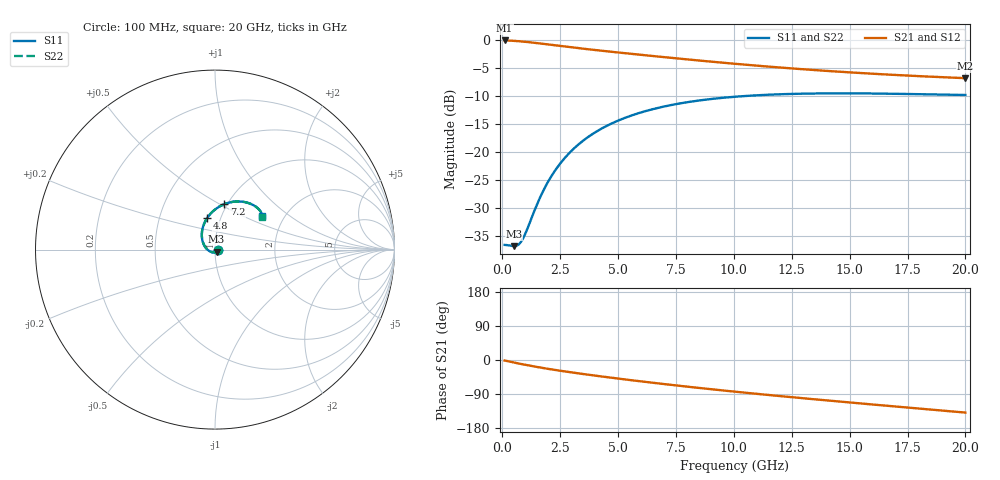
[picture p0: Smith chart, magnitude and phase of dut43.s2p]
! Touchstone file exported from HFSS 2023.1.0
!  File:  D:/Users/fzz/RDL_TSV/temp_RDL_TSV_43_1778744930.aedt
!  Generated:  3:58:58 %x4E0B%x5348  5%x6708 14, 2026
!  Design:  RDL_TSV
!  Project:  temp_RDL_TSV_43_1778744930
!  Setup:  Setup1
!  Solution:  Sweep
! Variables:
!  dtsv = 11.84um
!  hbump = 3um
!  htsv = 72.65um
!  ldown = 185.41um
!  lrdl = 269.32um
!  p = 40
!  p1 = 46.14um
!  rhole = 10um
!  subl = 1633.51um
!  t = 450um
!  tdown = 2.62um
!  trdl = 2.66um
!  viad = 10um
!  wdown = 27.86um
!  wrdl = 12.4um
!  xbump = 18um
# GHz S MA R 50.000000
! Terminal data exported
! Port[1] = TM1_1_T1
! Port[2] = TM1_4_T1
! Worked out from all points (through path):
!   200 points, 100 MHz to 20 GHz, reference 50 ohm
!   highest |S21| = -0.13 dB at 100 MHz (marker M1); lowest = -6.9 dB at 20 GHz (marker M2)
!   group delay of S21, straight-line fit = 18.2 ps
!   lowest |S11| = -36.9 dB at 500 MHz (marker M3), VSWR 1.03, Z = 50.9 - j1.16 ohm
!   |S11| at or under -10 dB: start of sweep to 10.7 GHz
!   |S22| runs from -36.9 to -9.6 dB; largest |S21 - S12| = 1.7e-14
!   S11 on the Smith chart (normalised r, x): 100 MHz: 1.03, -0.00; 4.8 GHz: 0.86, +0.31; 7.2 GHz: 0.97, +0.53; 20 GHz: 1.55, +0.64
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0.1  0.0147 -9.2  0.9849 -1.3  0.9849 -1.3  0.0147 -9.2
! Gamma 0 0 0 0
! Port Impedance 50 0 50 0
0.5  0.01431 -53.0  0.977 -6.6  0.977 -6.6  0.01432 -53.0
0.7  0.01477 -80.7  0.9703 -9.1  0.9703 -9.1  0.01477 -80.7
0.9  0.01683 -109.1  0.9623 -11.6  0.9623 -11.6  0.01683 -109.0
1.5  0.03379 -167.5  0.9328 -18.4  0.9328 -18.4  0.03378 -167.5
1.7  0.04179 -179.4  0.9221 -20.5  0.9221 -20.5  0.04178 -179.4
1.9  0.05042 170.9  0.9112 -22.6  0.9112 -22.6  0.0504 170.9
2.2  0.06412 158.9  0.8951 -25.5  0.8951 -25.5  0.0641 158.9
2.5  0.07833 149.0  0.8793 -28.3  0.8793 -28.3  0.0783 149.0
2.8  0.0927 140.6  0.8641 -31.1  0.8641 -31.1  0.09267 140.7
3.5  0.1258 124.9  0.831 -37.1  0.831 -37.1  0.1257 124.9
4.1  0.1526 114.2  0.805 -42.0  0.805 -42.0  0.1526 114.2
4.8  0.1816 103.8  0.7769 -47.5  0.7769 -47.5  0.1815 103.8
5.7  0.2145 92.8  0.7431 -54.3  0.7431 -54.3  0.2145 92.8
6.8  0.2481 81.9  0.705 -62.2  0.705 -62.2  0.248 81.9
7.2  0.2586 78.4  0.6918 -65.0  0.6918 -65.0  0.2585 78.4
8.6  0.2884 68.0  0.6489 -74.4  0.6489 -74.4  0.2882 68.0
10.1  0.31 59.1  0.6082 -83.9  0.6082 -83.9  0.3099 59.1
11.7  0.3239 51.6  0.5707 -93.5  0.5707 -93.5  0.3238 51.6
13.4  0.3307 45.5  0.5371 -103.2  0.5371 -103.2  0.3306 45.5
16.7  0.3294 37.9  0.4876 -121.2  0.4876 -121.2  0.3292 37.9
20  0.3208 35.1  0.4535 -138.8  0.4535 -138.8  0.3207 35.1
